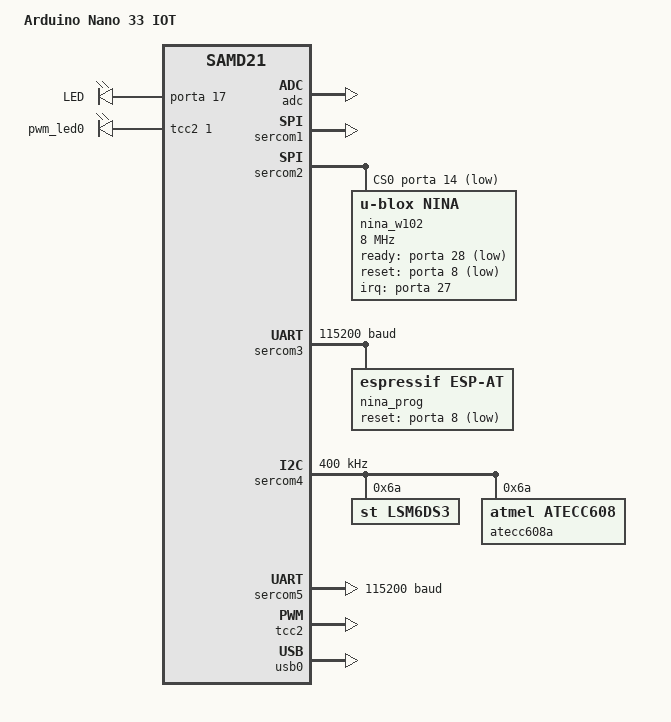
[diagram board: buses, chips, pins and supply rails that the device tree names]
/*
 * Copyright (c) 2020 Google LLC.
 *
 * SPDX-License-Identifier: Apache-2.0
 */

/dts-v1/;
#include <atmel/samd21.dtsi>
#include <atmel/samx2xx18.dtsi>
#include "arduino_nano_33_iot-pinctrl.dtsi"
#include "arduino_nano_connector.dtsi"

/ {
	model = "Arduino Nano 33 IOT";
	compatible = "arduino,nano-33-iot";

	chosen {
		zephyr,console = &sercom5;
		zephyr,shell-uart = &sercom5;
		zephyr,sram = &sram0;
		zephyr,flash = &flash0;
		zephyr,code-partition = &code_partition;
	};

	leds {
		compatible = "gpio-leds";

		led0: led_0 {
			gpios = <&porta 17 0>;
			label = "LED";
		};
	};

	pwmleds {
		compatible = "pwm-leds";

		pwm_led0: pwm_led_0 {
			pwms = <&tcc2 1 PWM_MSEC(20)>;
		};
	};

	aliases {
		led0 = &led0;
		pwm-led0 = &pwm_led0;
	};
};

&cpu0 {
	clock-frequency = <48000000>;
};

&adc {
	status = "okay";

	pinctrl-0 = <&adc_default>;
	pinctrl-names = "default";
};

&sercom1 {
	status = "okay";
	compatible = "atmel,sam0-spi";
	dipo = <0>;
	dopo = <1>;
	#address-cells = <1>;
	#size-cells = <0>;

	pinctrl-0 = <&sercom1_spi_default>;
	pinctrl-names = "default";
};

&sercom2 {
	status = "okay";
	compatible = "atmel,sam0-spi";
	dipo = <1>;
	dopo = <3>;
	#address-cells = <1>;
	#size-cells = <0>;

	pinctrl-0 = <&sercom2_spi_default>;
	pinctrl-names = "default";

	cs-gpios = <&porta 14 GPIO_ACTIVE_LOW>;

	nina_w102@0 {
		compatible = "u-blox,nina";
		reg = <0>;
		spi-max-frequency = <8000000>;
		ready-gpios = <&porta 28 (GPIO_PULL_UP | GPIO_ACTIVE_LOW)>;
		reset-gpios = <&porta 8 GPIO_ACTIVE_LOW>;
		irq-gpios = <&porta 27 GPIO_PULL_DOWN>;
	};
};

&sercom3 {
	status = "okay";
	compatible = "atmel,sam0-uart";
	current-speed = <115200>;
	rxpo = <1>;
	txpo = <0>;

	pinctrl-0 = <&sercom3_uart_default>;
	pinctrl-names = "default";

	nina_prog {
		compatible = "espressif,esp-at";
		reset-gpios = <&porta 8 GPIO_ACTIVE_LOW>;
	};
};

&sercom4 {
	status = "okay";
	compatible = "atmel,sam0-i2c";
	clock-frequency = <I2C_BITRATE_FAST>;
	#address-cells = <1>;
	#size-cells = <0>;

	pinctrl-0 = <&sercom4_i2c_default>;
	pinctrl-names = "default";

	lsm6ds3@6a {
		compatible = "st,lsm6ds3";
		reg = <0x6a>;
	};

	atecc608a@6a {
		compatible = "atmel,atecc608";
		reg = <0x6a>;
	};
};

&sercom5 {
	status = "okay";
	compatible = "atmel,sam0-uart";
	current-speed = <115200>;
	rxpo = <3>;
	txpo = <1>;

	pinctrl-0 = <&sercom5_uart_default>;
	pinctrl-names = "default";
};

&tcc2 {
	status = "okay";
	compatible = "atmel,sam0-tcc-pwm";
	prescaler = <1024>;
	#pwm-cells = <2>;

	pinctrl-0 = <&pwm_default>;
	pinctrl-names = "default";
};

&flash0 {
	partitions {
		compatible = "fixed-partitions";
		#address-cells = <1>;
		#size-cells = <1>;

		boot_partition: partition@0 {
			label = "uf2";
			reg = <0x00000000 0x2000>;
			read-only;
		};

		code_partition: partition@2000 {
			label = "code";
			reg = <0x2000 0x3A000>;
			read-only;
		};

		/*
		 * The final 16 KiB is reserved for the application.
		 * Storage partition will be used by FCB/LittleFS/NVS
		 * if enabled.
		 */
		storage_partition: partition@3c000 {
			label = "storage";
			reg = <0x0003c000 0x00004000>;
		};
	};
};

zephyr_udc0: &usb0 {
	status = "okay";

	pinctrl-0 = <&usb_dc_default>;
	pinctrl-names = "default";
};
